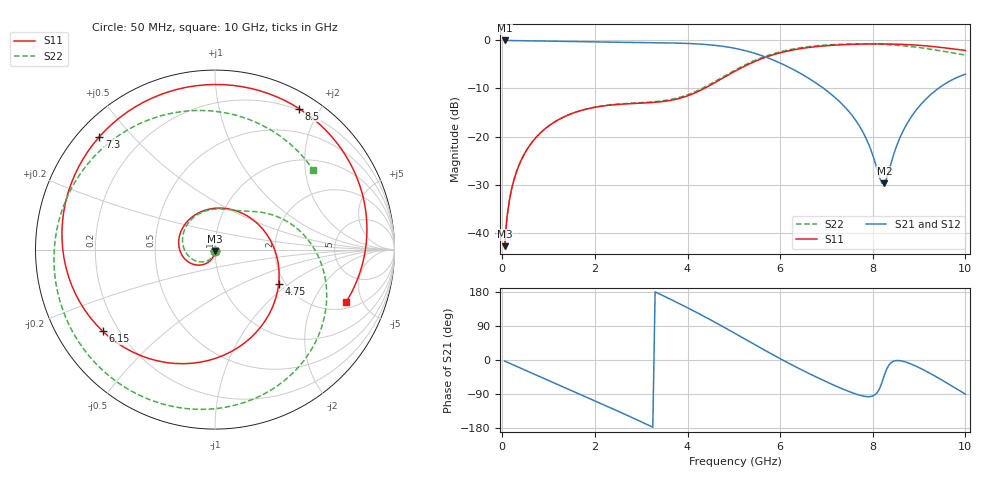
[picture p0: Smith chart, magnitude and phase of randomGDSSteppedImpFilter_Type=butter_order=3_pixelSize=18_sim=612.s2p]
! freq	dB(S11)	phase(S11)	dB(S12)	phase(S12)
!  dB(S21)	phase(S21)	dB(S22)	phase(S22)
!S-par simulation data
#  GHz  S  DB  R 50
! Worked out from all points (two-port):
!   200 points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, 50 MHz to 10 GHz, reference 50 ohm
!   highest |S21| = 0.00 dB at 50 MHz (marker M1); lowest = -29.8 dB at 8.25 GHz (marker M2)
!   |S21| within 3 dB of the highest: start of sweep to 5.555 GHz
!   lowest |S11| = -42.8 dB at 50 MHz (marker M3), VSWR 1.01, Z = 50 - j0.724 ohm
!   |S11| at or under -10 dB: start of sweep to 4.36 GHz
!   |S22| runs from -42.8 to -0.7 dB; largest |S21 - S12| = 0
!   S11 on the Smith chart (normalised r, x): 50 MHz: 1.00, -0.01; 4.75 GHz: 1.85, -0.84; 6.15 GHz: 0.14, -0.32; 7.3 GHz: 0.06, +0.41; 8.5 GHz: 0.18, +1.75; 10 GHz: 2.43, -3.71
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0.05  -42.80 -90.9  -0.00 -2.8  -0.00 -2.8  -42.82 -91.7
0.2  -30.97 -99.2  -0.02 -10.9  -0.02 -10.9  -30.98 -102.1
0.5  -23.23 -114.0  -0.06 -27.1  -0.06 -27.1  -23.24 -121.2
1.15  -16.85 -144.6  -0.16 -62.1  -0.16 -62.1  -16.85 -161.3
1.75  -14.45 -172.8  -0.27 -94.3  -0.27 -94.3  -14.43 162.3
2.65  -13.22 141.5  -0.39 -143.4  -0.39 -143.4  -13.14 109.8
3.4  -12.79 92.5  -0.48 174.0  -0.48 174.0  -12.63 73.5
4.15  -10.96 27.5  -0.69 128.4  -0.69 128.4  -10.73 47.2
4.75  -7.90 -28.3  -1.21 89.0  -1.21 89.0  -7.66 24.3
5.05  -6.27 -54.9  -1.69 68.5  -1.69 68.5  -6.04 9.9
5.65  -3.62 -105.2  -3.33 27.0  -3.33 27.0  -3.40 -22.9
6.15  -2.23 -144.0  -5.39 -6.2  -5.39 -6.2  -2.02 -51.3
6.7  -1.37 176.3  -8.39 -40.2  -8.39 -40.2  -1.19 -81.5
7.3  -0.91 135.7  -12.90 -73.9  -12.90 -73.9  -0.80 -113.4
7.8  -0.75 103.1  -19.30 -95.3  -19.30 -95.3  -0.74 -140.7
8.25  -0.73 74.6  -29.76 -40.2  -29.76 -40.2  -0.85 -167.5
8.35  -0.74 68.3  -27.03 -13.0  -27.03 -13.0  -0.90 -173.9
8.5  -0.77 59.1  -22.35 -1.6  -22.35 -1.6  -0.99 176.1
8.9  -0.95 35.2  -14.97 -14.4  -14.97 -14.4  -1.36 146.3
9.35  -1.32 10.0  -10.47 -42.9  -10.47 -42.9  -1.98 106.6
9.65  -1.66 -5.4  -8.52 -64.3  -8.52 -64.3  -2.48 76.4
10  -2.08 -21.7  -7.02 -90.1  -7.02 -90.1  -3.04 39.2
